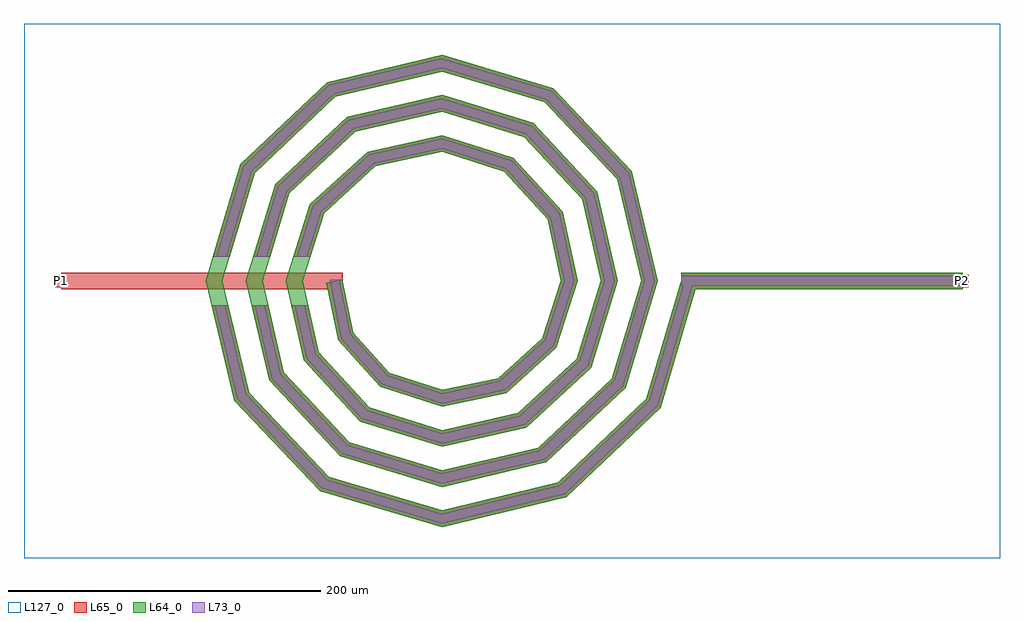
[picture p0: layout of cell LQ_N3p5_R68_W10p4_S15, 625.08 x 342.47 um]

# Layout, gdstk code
import gdstk
lib = gdstk.Library(unit=1e-6, precision=1e-09)
def R(c, l, rs):  # rectangles x0, y0, x1, y1
    for r in rs: c.add(gdstk.rectangle(r[:2], r[2:], *l))
def P(c, l, *ps):  # polygons
    for p in ps: c.add(gdstk.Polygon(p, *l))
L64_0 = (64, 0)
L65_0 = (65, 0)
L73_0 = (73, 0)
L127_0 = (127, 0)

lq_n3p5_r68_w10p4_s15 = lib.new_cell('LQ_N3p5_R68_W10p4_S15')
R(lq_n3p5_r68_w10p4_s15, L64_0, [(153.501,-5.2,333.501,5.2)])
P(lq_n3p5_r68_w10p4_s15, L64_0, [(-56.613,-33.035),(-33.588,-58.765),(0.286,-69.827),(36.224,-62.187),(64.315,-36.82),(76.249,0.263),(67.759,39.417),(40.048,69.866),(0.244,82.671),(-42.612,73.33),(-75.419,43.275),(-89.093,0.228),(-78.9,-45.81),(-46.499,-80.974),(0.213,-95.515),(49.009,-84.468),(86.529,-49.722),(101.938,0.2),(90.037,52.209),(52.943,92.085),(0.189,108.36),(-55.411,95.604),(-97.642,56.163),(-114.783,0.179),(-101.171,-58.614),(-59.383,-103.2),(0.17,-121.206),(61.818,-106.738),(108.758,-62.601),(127.628,0.162),(112.304,65.022),(65.82,114.316),(0.154,134.051),(-68.228,117.87),(-119.875,69.037),(-140.474,0.147),(-123.435,-71.433),(-72.254,-125.434),(0.141,-146.897),(74.639,-129.001),(130.993,-75.47),(153.714,1.473),(163.689,-1.473),(140.178,-81.09),(79.78,-138.462),(0.141,-157.66),(-77.884,-134.612),(-132.902,-76.563),(-151.237,0.147),(-129.046,74.678),(-73.346,127.343),(0.154,144.814),(71.472,123.48),(121.784,70.128),(138.391,0.162),(117.914,-68.267),(66.91,-116.225),(0.17,-131.968),(-65.063,-112.347),(-110.667,-63.691),(-125.545,0.179),(-106.78,61.86),(-60.471,105.109),(0.189,119.122),(58.657,101.212),(99.552,57.25),(112.698,0.2),(95.643,-55.456),(54.027,-93.996),(0.213,-106.275),(-52.255,-90.074),(-88.44,-50.804),(-99.852,0.228),(-84.503,49.057),(-47.578,82.885),(0.244,93.428),(45.86,78.932),(77.331,44.351),(87.004,0.263),(73.358,-42.666),(41.12,-71.778),(0.286,-80.581),(-39.474,-67.783),(-66.227,-37.887),(-73.872,-1.057),(-63.689,1.057)])
R(lq_n3p5_r68_w10p4_s15, L65_0, [(-243.581,-5.2,-63.581,5.2), (153.501,-5.2,333.501,5.2), (-247.581,-4,-239.581,4), (329.501,-4,337.501,4)])
P(lq_n3p5_r68_w10p4_s15, L65_0, [(-123.435,-71.433),(-72.254,-125.434),(0.141,-146.897),(74.639,-129.001),(130.993,-75.47),(153.714,1.473),(163.689,-1.473),(140.178,-81.09),(79.78,-138.462),(0.141,-157.66),(-77.884,-134.612),(-132.902,-76.563),(-147.473,-15.6),(-136.78,-15.6)],
  [(-101.171,-58.614),(-59.383,-103.2),(0.17,-121.206),(61.818,-106.738),(108.758,-62.602),(127.628,0.162),(112.304,65.022),(65.82,114.316),(0.154,134.051),(-68.228,117.87),(-119.875,69.037),(-135.785,15.6),(-146.636,15.6),(-129.046,74.678),(-73.346,127.343),(0.154,144.814),(71.472,123.48),(121.784,70.128),(138.391,0.162),(117.914,-68.267),(66.91,-116.225),(0.17,-131.968),(-65.063,-112.347),(-110.667,-63.691),(-121.869,-15.6),(-111.191,-15.6)],
  [(-78.9,-45.81),(-46.499,-80.974),(0.213,-95.515),(49.009,-84.469),(86.529,-49.722),(101.938,0.2),(90.037,52.21),(52.943,92.085),(0.189,108.361),(-55.411,95.604),(-97.642,56.163),(-109.983,15.6),(-120.853,15.6),(-106.78,61.86),(-60.471,105.109),(0.189,119.122),(58.657,101.212),(99.552,57.25),(112.698,0.2),(95.643,-55.456),(54.027,-93.996),(0.213,-106.275),(-52.256,-90.074),(-88.44,-50.804),(-96.312,-15.6),(-85.655,-15.6)],
  [(-33.588,-58.765),(0.286,-69.827),(36.224,-62.187),(64.314,-36.82),(76.249,0.263),(67.759,39.417),(40.048,69.866),(0.244,82.671),(-42.612,73.33),(-75.419,43.275),(-84.118,15.6),(-95.02,15.6),(-84.503,49.057),(-47.578,82.885),(0.244,93.428),(45.86,78.932),(77.331,44.351),(87.004,0.263),(73.359,-42.666),(41.12,-71.778),(0.286,-80.581),(-39.474,-67.783),(-66.227,-37.887),(-73.872,-1.057),(-63.689,1.057),(-56.613,-33.035)])
R(lq_n3p5_r68_w10p4_s15, L73_0, [(153.501,-3.2,333.501,3.2)])
P(lq_n3p5_r68_w10p4_s15, L73_0, [(-125.256,-72.42),(-73.337,-127.199),(0.087,-148.967),(75.628,-130.82),(132.759,-76.551),(155.632,0.906),(161.77,0.906),(138.411,-80.009),(78.792,-136.642),(0.087,-155.59),(-76.801,-132.847),(-131.082,-75.577),(-145.417,-15.6),(-138.837,-15.6)],
  [(-102.997,-59.591),(-60.475,-104.959),(0.105,-123.275),(62.797,-108.562),(110.518,-63.691),(129.698,0.1),(114.127,66.004),(66.907,116.078),(0.095,136.121),(-69.212,119.692),(-121.638,70.122),(-137.872,15.6),(-144.55,15.6),(-127.283,73.593),(-72.362,125.521),(0.095,142.744),(70.385,121.718),(119.961,69.146),(136.321,0.1),(116.153,-67.178),(65.931,-114.401),(0.105,-129.898),(-63.971,-110.588),(-108.841,-62.715),(-119.816,-15.6),(-113.244,-15.6)],
  [(-80.734,-46.77),(-47.606,-82.724),(0.131,-97.585),(49.974,-86.301),(88.282,-50.824),(104.007,0.123),(91.867,53.179),(54.042,93.84),(0.116,110.43),(-56.384,97.432),(-99.399,57.259),(-112.073,15.6),(-118.763,15.6),(-105.023,60.764),(-59.498,103.281),(0.116,117.052),(57.558,99.457),(97.722,56.28),(110.629,0.123),(93.891,-54.353),(53.062,-92.163),(0.131,-104.206),(-51.148,-88.324),(-86.605,-49.843),(-94.263,-15.6),(-87.705,-15.6)],
  [(-34.72,-60.499),(0.176,-71.895),(37.166,-64.031),(66.054,-37.944),(78.317,0.162),(69.6,40.366),(41.166,71.61),(0.15,84.74),(-43.567,75.167),(-77.166,44.387),(-86.215,15.6),(-92.923,15.6),(-82.756,47.945),(-46.623,81.047),(0.15,91.359),(44.743,77.188),(75.49,43.402),(84.936,0.162),(71.619,-41.542),(40.179,-69.934),(0.176,-78.513),(-38.342,-66.049),(-64.378,-36.954),(-71.914,0.65),(-65.648,0.65),(-58.462,-33.968)])
R(lq_n3p5_r68_w10p4_s15, L127_0, [(-267.581,-177.66,357.501,164.814)])
lq_n3p5_r68_w10p4_s15.add(gdstk.Label('P2', (333.501,0), layer=65, texttype=0))
lq_n3p5_r68_w10p4_s15.add(gdstk.Label('P1', (-243.581,0), layer=65, texttype=0))
lq_n3p5_r68_w10p4_s15.add(gdstk.Label('P2', (337.501,0), layer=145, texttype=0))
lq_n3p5_r68_w10p4_s15.add(gdstk.Label('P1', (-247.581,0), layer=145, texttype=0))

lib.write_gds('LQ_N3p5_R68_W10p4_S15.gds')
